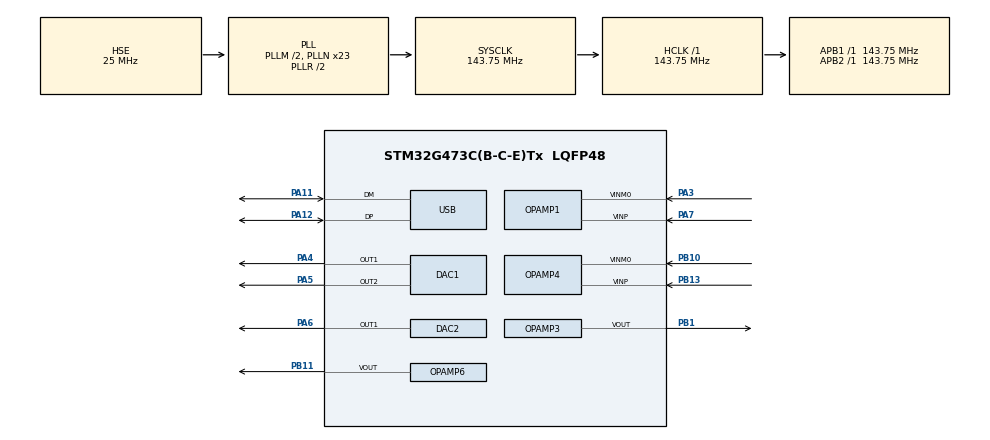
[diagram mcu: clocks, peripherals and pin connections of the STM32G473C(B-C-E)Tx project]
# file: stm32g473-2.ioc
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ADC1.Channel-1\#ChannelRegularConversion=ADC_CHANNEL_VOPAMP1
ADC1.NbrOfConversionFlag=1
ADC1.OffsetNumber-1\#ChannelRegularConversion=ADC_OFFSET_NONE
ADC1.Rank-1\#ChannelRegularConversion=1
ADC1.SamplingTime-1\#ChannelRegularConversion=ADC_SAMPLETIME_2CYCLES_5
ADC1.master=1
ADC5.Channel-1\#ChannelRegularConversion=ADC_CHANNEL_VOPAMP4
ADC5.NbrOfConversionFlag=1
ADC5.OffsetNumber-1\#ChannelRegularConversion=ADC_OFFSET_NONE
ADC5.Rank-1\#ChannelRegularConversion=1
ADC5.SamplingTime-1\#ChannelRegularConversion=ADC_SAMPLETIME_2CYCLES_5
DAC1.DAC_Channel-DAC_OUT2=DAC_CHANNEL_2
DAC3.DAC_Channel-DAC_OUT2_Int=DAC_CHANNEL_2
Mcu.Family=STM32G4
Mcu.Name=STM32G473C(B-C-E)Tx
Mcu.Package=LQFP48
NVIC.PriorityGroup=NVIC_PRIORITYGROUP_4
NVIC.USB_LP_IRQn=true\:0\:0\:false\:false\:true\:false\:true\:true
PA11.Mode=Device
PA11.Signal=USB_DM
PA12.Mode=Device
PA12.Signal=USB_DP
PA13.Mode=Trace_Asynchronous_SW
PA13.Signal=SYS_JTMS-SWDIO
PA14.Mode=Trace_Asynchronous_SW
PA14.Signal=SYS_JTCK-SWCLK
PA3.Mode=PGA Internally connected_IO0_BIAS
PA3.Signal=OPAMP1_VINM0
PA4.Signal=COMP_DAC11_group
PA5.Signal=COMP_DAC12_group
PA6.Signal=COMP_DAC21_group
PA7.Mode=PGA Internally connected_IO0_BIAS
PA7.Signal=OPAMP1_VINP
PB1.Mode=Follower-DAC_OUT2-INP
PB1.Signal=OPAMP3_VOUT
PB10.Mode=PGA Internally connected_IO0_BIAS
PB10.Signal=OPAMP4_VINM0
PB11.Mode=Follower-DAC_OUT2-INP
PB11.Signal=OPAMP6_VOUT
PB13.Mode=PGA Internally connected_IO0_BIAS
PB13.Signal=OPAMP4_VINP
PB3.Mode=Trace_Asynchronous_SW
PB3.Signal=SYS_JTDO-SWO
PF0-OSC_IN.Mode=HSE-External-Oscillator
PF0-OSC_IN.Signal=RCC_OSC_IN
PF1-OSC_OUT.Mode=HSE-External-Oscillator
PF1-OSC_OUT.Signal=RCC_OSC_OUT
ProjectManager.HeapSize=0x200
ProjectManager.StackSize=0x400
ProjectManager.TargetToolchain=STM32CubeIDE
RCC.ADC12Freq_Value=143750000
RCC.ADC345Freq_Value=143750000
RCC.AHBFreq_Value=143750000
RCC.APB1Freq_Value=143750000
RCC.APB1TimFreq_Value=143750000
RCC.APB2Freq_Value=143750000
RCC.APB2TimFreq_Value=143750000
RCC.CortexFreq_Value=143750000
RCC.EXTERNAL_CLOCK_VALUE=12288000
RCC.HCLKFreq_Value=143750000
RCC.HSE_VALUE=25000000
RCC.HSI48_VALUE=48000000
RCC.HSI_VALUE=16000000
RCC.LSE_VALUE=32768
RCC.PLLM=RCC_PLLM_DIV2
RCC.PLLN=23
RCC.PLLQ=RCC_PLLQ_DIV6
RCC.PLLSourceVirtual=RCC_PLLSOURCE_HSE
RCC.SYSCLKFreq_VALUE=143750000
RCC.SYSCLKSource=RCC_SYSCLKSOURCE_PLLCLK
RCC.USBFreq_Value=47916666.666666664
RCC.VCOOutputFreq_Value=287500000
SH.COMP_DAC11_group.0=DAC1_OUT1,DAC_OUT1
SH.COMP_DAC12_group.0=DAC1_OUT2,DAC_OUT2
SH.COMP_DAC21_group.0=DAC2_OUT1,DAC_OUT1
TIM1.CounterMode=TIM_COUNTERMODE_UP
TIM1.PeriodNoDither=65535-1
TIM1.Prescaler=143.75-1
USB_DEVICE.CLASS_NAME_FS=CDC
USB_DEVICE.VirtualMode=Cdc
USB_DEVICE.VirtualModeFS=Cdc_FS
VP_ADC1_OPAMP_INTERNAL1.Mode=IN-OPAMP1
VP_ADC5_OPAMP_INTERNAL4.Mode=IN-OPAMP4
VP_DAC3_VS_DACI1.Mode=DAC_OUT1_Int
VP_DAC3_VS_DACI2.Mode=DAC_OUT2_Int
VP_TIM1_VS_ClockSourceINT.Mode=Internal
VP_USB_DEVICE_VS_USB_DEVICE_CDC_FS.Mode=CDC_FS
board=custom

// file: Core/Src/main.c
/* USER CODE BEGIN Header */
/**
  ******************************************************************************
  * @file           : main.c
  * @brief          : Main program body
  ******************************************************************************
  * @attention
  *
  * Copyright (c) 2023 STMicroelectronics.
  * All rights reserved.
  *
  * This software is licensed under terms that can be found in the LICENSE file
  * in the root directory of this software component.
  * If no LICENSE file comes with this software, it is provided AS-IS.
  *
  ******************************************************************************
  */
/* USER CODE END Header */
#include "main.h"
#include "usb_device.h"
#include <string.h>
#include <stdbool.h>
#include <math.h>
#include <ctype.h>
#include "usbd_cdc_if.h"
#include<stdio.h>
#include<stdlib.h>

ADC_HandleTypeDef hadc1;
ADC_HandleTypeDef hadc5;

DAC_HandleTypeDef hdac1;
DAC_HandleTypeDef hdac2;
DAC_HandleTypeDef hdac3;

OPAMP_HandleTypeDef hopamp1;
OPAMP_HandleTypeDef hopamp3;
OPAMP_HandleTypeDef hopamp4;
OPAMP_HandleTypeDef hopamp6;

TIM_HandleTypeDef htim1;

/* USER CODE BEGIN PV */
//1 -> int between 1 and 4095
uint16_t xRes = 200;
//2 -> int between 1 and 4095
uint16_t yRes = 200;
//3 -> int between 1 and 4095
uint16_t skipSteps = 1;

//4 -> int between 0 and 4095
uint16_t xOffset = 2000;
//5 -> int between 0 and 4095
uint16_t yOffset = 2000;
//8 -> int between 1 and 20
uint8_t adcAvg = 8;

//7 -> int between 0 and 2500
uint16_t laserPower = 2000;

int pgaGain = OPAMP_PGA_GAIN_2_OR_MINUS_1;

int scanOffsetX = 0;
int scanOffsetY = 0;

//uint8_t image[500][500]; //causes RAM overflow -> sadge I'll have to send line by line in the scan function (use uint16_t for kicks?)
/* USER CODE END PV */

void SystemClock_Config(void);
static void MX_GPIO_Init(void);
static void MX_ADC1_Init(void);
static void MX_ADC5_Init(void);
static void MX_DAC1_Init(void);
static void MX_DAC2_Init(void);
static void MX_DAC3_Init(void);
static void MX_OPAMP1_Init(void);
static void MX_OPAMP3_Init(void);
static void MX_OPAMP4_Init(void);
static void MX_OPAMP6_Init(void);
static void MX_TIM1_Init(void);

/* USER CODE BEGIN 0 */

//microsecond delay (not used)
//https://controllerstech.com/create-1-microsecond-delay-stm32/
void delay_us(uint16_t us)
{
	__HAL_TIM_SET_COUNTER(&htim1,0);
	while (__HAL_TIM_GET_COUNTER(&htim1) < us);
}

//USB cdc transmit
//https://github.com/alexeykosinov/Redirect-printf-to-USB-VCP-on-STM32H7-MCU
int _write(int file, char *ptr, int len) {
    static uint8_t rc = USBD_OK;

    do {
        rc = CDC_Transmit_FS((unsigned char*)ptr, len);
    } while (USBD_BUSY == rc);

    if (USBD_FAIL == rc) {
        /// NOTE: Should never reach here.
        /// TODO: Handle this error.
        return 0;
    }
    return len;
}

//USB cdc receive
uint8_t buffer[64];
bool newReceived;

//ADC
uint32_t analogRead(uint8_t channel)
{
	uint32_t ADCValue = 0;
	if (channel == 1) {
		  HAL_ADC_Start(&hadc1);
		  if (HAL_ADC_PollForConversion(&hadc1, 1000000) == HAL_OK) {
		      ADCValue = HAL_ADC_GetValue(&hadc1);
		  }
		  HAL_ADC_Stop(&hadc1);
	} else if (channel == 5) {
		  HAL_ADC_Start(&hadc5);
		  if (HAL_ADC_PollForConversion(&hadc5, 1000000) == HAL_OK) {
		      ADCValue = HAL_ADC_GetValue(&hadc5);
		  }
		  HAL_ADC_Stop(&hadc5);
	}

  return ADCValue;
}

//parse usb serial input
uint16_t getNum() {
	  uint16_t num = 0;
	  for (int i=1; i<=4; i++) {
		  if (isdigit(buffer[i])) { //only works if buffer isn't initialized with all zeros - shouldn't be
			  num *= 10;
			  num += buffer[i] - '0';
		  }
	  }
	  return num;
}

//fine focus
//return true for successful focus, false for not
int16_t fineFocus() {
	int16_t currentAdc;
	int16_t topAdc = -10000;
	int16_t bottomAdc = 10000;
	int16_t topDac = 0;
	int16_t bottomDac = 0;
	int16_t middleDac;
	int8_t precision = 3;

	//set offsets
	HAL_DAC_SetValue(&hdac3, DAC_CHANNEL_1, DAC_ALIGN_12B_R, xOffset);
	HAL_DAC_SetValue(&hdac3, DAC_CHANNEL_2, DAC_ALIGN_12B_R, yOffset);

	//set laser power
	HAL_DAC_SetValue(&hdac2, DAC_CHANNEL_1, DAC_ALIGN_12B_R, laserPower);

	//delay to settle
	HAL_Delay(3);

	for (int i=0; i<4096; i+=precision) { //can do +=5?
		HAL_DAC_SetValue(&hdac1, DAC_CHANNEL_1, DAC_ALIGN_12B_R, i);
		//delay_us(1000);
		HAL_Delay(2);
		currentAdc = analogRead(5)-analogRead(1);
		if (currentAdc > topAdc) {
			topAdc = currentAdc;
			topDac = i;
		} else if (currentAdc < bottomAdc) {
			bottomAdc = currentAdc;
			bottomDac = i;
		}
		//delay_us(1000); //give time for VCM to catch up - maybe not needed
		HAL_Delay(2);
		printf("%d\r\n", currentAdc);
	}
	middleDac = (round((topDac-bottomDac)/2))+bottomDac;

	printf("Top DAC: %d\r\n", topDac);
	printf("Bottom DAC: %d\r\n", bottomDac);
	printf("Middle DAC: %d\r\n", middleDac);

	for (int i = 4095; i >= middleDac; i-=precision) {
		HAL_DAC_SetValue(&hdac1, DAC_CHANNEL_1, DAC_ALIGN_12B_R, i); //is blocking?
		HAL_Delay(2);
	}

	HAL_Delay(1); //leave time to settle
	return topAdc-bottomAdc; //return difference, aka size of S-shape
}

//coarse focus
uint16_t coarseFocus() {
	uint16_t sum = 0;
	uint16_t minDac = 0;
	uint8_t precision = 3;
	uint16_t minSum = 10000;
	//set offsets
	HAL_DAC_SetValue(&hdac3, DAC_CHANNEL_1, DAC_ALIGN_12B_R, xOffset);
	HAL_DAC_SetValue(&hdac3, DAC_CHANNEL_2, DAC_ALIGN_12B_R, yOffset);

	//set laser power
	HAL_DAC_SetValue(&hdac2, DAC_CHANNEL_1, DAC_ALIGN_12B_R, laserPower);

	//delay to settle
	HAL_Delay(3);

	for (int i=0; i<4096; i+=precision) {
		HAL_DAC_SetValue(&hdac1, DAC_CHANNEL_2, DAC_ALIGN_12B_R, i);
		HAL_Delay(2);
		sum = analogRead(5)+analogRead(1);
		if (sum < minSum) { //values get smaller as light increases (inverted)
			minSum = sum;
			minDac = i;
		}
		HAL_Delay(2); //give time for VCM to catch up - maybe not needed
		printf("%d\r\n", sum); //print to see curve
	}

	printf("%d\r\n", minDac);

	for (int i = 4095; i >= minDac; i-=precision) {
		HAL_DAC_SetValue(&hdac1, DAC_CHANNEL_2, DAC_ALIGN_12B_R, i);
		HAL_Delay(1);
		//printf("%d\r\n", i);
	}

	HAL_Delay(1); //time to settle
	//maybe print DAC value at max, to know general position (aka make sure it's not at a max?)
	return analogRead(5)+analogRead(1);
	//return 0;
}

//main scan
void scan() {
	//TODO: delays based on resolution to avoid warping and artifacts from the VCM catching up
	//TODO: when coarse focussing, set fine focus VCM to center?
	//TODO: reset focus VCMs before focussing to avoid dips at the start of the scan
	//TODO: improve focus accuracy, especially coarse (and ensure fine is accurate as well) - increase timers?
	//TODO: Doing too many scans in one program run results in only getting very warped images out. - might have been fixed by increasing row[] size
	//TODO: limit adcAvg to 10, as I haven't seen any benefits past that
	int raw;
	unsigned char row[(xRes*5)+1]; //maybe not long enough? because of delims? +1 because of missing last char '\n' at end of row - only need +1 for printing -> otherwise just one char at the end is needed, not two
	//unsigned char row[xRes*4]; //max 8192 = 4 digits long
	uint16_t usedCounter = 0; //keep track of how much of the array has been filled

	HAL_Delay(100);
	printf("starting scan loop\r\n");
	for (int y=0; y<yRes; y++) {
		  //memset(row, 0, sizeof row); //see if this fixes corruption - doesn't work -- no longer needed?
		  HAL_DAC_SetValue(&hdac3, DAC_CHANNEL_2, DAC_ALIGN_12B_R, scanOffsetY+(y*skipSteps));
		  HAL_Delay(10);
		  //delay_us(20);
		  usedCounter = 0;
		  for (int x=0; x<xRes; x++) {
			  raw = 0;
			  HAL_DAC_SetValue(&hdac3, DAC_CHANNEL_1, DAC_ALIGN_12B_R, scanOffsetX+(x*skipSteps));
			  if (x <= 1) {
				  HAL_Delay(60);
			  } else {
				  HAL_Delay(3);
			  }
			  //delay_us(500);
			  for (int i=1; i<=adcAvg; i++) {
				  raw += analogRead(5)+analogRead(1);
				  delay_us(50);
			  }
			  raw = (raw/adcAvg);
			  raw = 8191 - raw; //invert the image
			  //printf("%d\r\n", raw);
			  if (x+1 != xRes) {
				  usedCounter += sprintf(row+usedCounter, "%d,", raw);
			  } else {
				  usedCounter += sprintf(row+usedCounter, "%d\r\n", raw);
			  }
		  }
		  //can use usedCounter instead of sizeof(row) to account for >512 by splitting?
		  //temp -> remove last comma for easy parsing
		  HAL_Delay(5); //delays around USB transmit don't help line corruption
		  static uint8_t rc = USBD_OK;
		  do {
		          rc = CDC_Transmit_FS(row, usedCounter);
		      } while (USBD_BUSY == rc);

		      if (USBD_FAIL == rc) {
		          /// NOTE: Should never reach here.
		          /// TODO: Handle this error.
		          printf("Failed to send image");
		      }
		  HAL_Delay(5);
		  //HAL_Delay(30);
		  //memset(row, 0, xRes*4);

	}
}

/* USER CODE END 0 */

int main(void)
{

  /* MCU Configuration--------------------------------------------------------*/

  /* Reset of all peripherals, Initializes the Flash interface and the Systick. */
  HAL_Init();

  /* Configure the system clock */
  SystemClock_Config();

  /* Initialize all configured peripherals */
  MX_GPIO_Init();
  MX_ADC1_Init();
  MX_ADC5_Init();
  MX_DAC1_Init();
  MX_DAC2_Init();
  MX_DAC3_Init();
  MX_OPAMP1_Init();
  MX_OPAMP3_Init();
  MX_OPAMP4_Init();
  MX_OPAMP6_Init();
  MX_USB_Device_Init();
  MX_TIM1_Init();
  /* USER CODE BEGIN 2 */
  //DAC setup
  HAL_DAC_Start(&hdac1, DAC_CHANNEL_1);
  HAL_DAC_Start(&hdac1, DAC_CHANNEL_2);
  HAL_DAC_Start(&hdac2, DAC_CHANNEL_1);
  HAL_DAC_Start(&hdac3, DAC_CHANNEL_1);
  HAL_DAC_Start(&hdac3, DAC_CHANNEL_2);

  //ADC setup
  HAL_ADC_Start(&hadc1);
  HAL_ADC_Start(&hadc5);

  //opamp setup for DAC outputs
  HAL_OPAMP_Start(&hopamp3);
  HAL_OPAMP_Start(&hopamp6);

  //opamp setup for ADC inputs
  HAL_OPAMP_Start(&hopamp1);
  HAL_OPAMP_Start(&hopamp4);

  //timer setup
  HAL_TIM_Base_Start(&htim1);

  /* USER CODE END 2 */

  /* Infinite loop */
  while (1)
  {

	  //TODO: Turn off laser when not scanning or focussing
	  //TODO: print FES and SUM info more clearly when focussing
	  //TODO: Have interrupt to kill program if USB is disconnected?
	  //TODO: change ADC opamps to "fast mode"?

	  //All DACS
	  //out1-ch1 = vcm-fine
	  //out1-ch2 = vcm-coarse
	  //out2-ch1 = laser
	  //out3-ch1 (opamp3) = vcm-x
	  //out3-ch2 (opamp6) = vcm-y

	  //protocol:
	  //first char -> 0-9:
	  //0=start scan
	  //1=change x resolution
	  //2=change y resolution
	  //3=change number of steps to skip (aka zoom -> steps to skip * resolution = scan area out of 4096)
	  //4=change X offset
	  //5=change Y offset
	  //6=change opamp gain
	  //7=change laser power
	  //8=change number of ADC samples to average - use DMA later
	  //9=fine or coarse focus
	  //*10=change whether to output FES or SUM or both (aka just the two ADC values raw) - not needed yet

	  //After leading number, rest is dependent on choice
	  //setup with default values
	  //0 -> no input after

	  //missing vars are above

	  //6 -> int between 0 and 5 (0=2x, 1=4x, 2=8x, 3=16x, 4=32x, 5=64x)
	  uint8_t adcGain = 1;

	  //buffer[0]
	  uint8_t start;

	  //value of following data after buffer[0]
	  uint16_t num = 0;

	  //missing is above
	  //9 -> (1=fine focus, 2=coarse focus).

	  //when starting a scan, do checks to make sure you aren't exceeding 4096 for any VCM output, and not exceeding 2500 for laser input.
	  //avoid floats?
	  if (newReceived) {
		  printf("Received\r\n");
		  //hangs on line below -> when I send loads of 0s, it only shows one in the buffer.
		  if (buffer[0]=='0') {
				  start = 0;
		  } else {
			  start = buffer[0]-'0';
			  num = getNum();
		  }
		  switch (start) {
			case 0:
				printf("Scanning\r\n");
				int16_t xSum = (skipSteps*xRes)+xOffset; //not setting properly?
				int16_t ySum = (skipSteps*yRes)+yOffset;

				scanOffsetX = xOffset - (xRes * skipSteps / 2); // set focus to center of scanned image (make sure > 0)
				scanOffsetY = yOffset - (yRes * skipSteps / 2);

				if (xSum < 4096 && ySum < 4096) { //doesn't go to else properly
					if (scanOffsetX >= 0 && scanOffsetY >= 0) {
						printf("passed checks\r\n");
					    //call scan function
					    //might have issues sending if char count is over 512 in the X axis (maybe break into chunks if an issue)
						scan(); //pass pointer

						HAL_Delay(1);
						printf("done\r\n");
					} else {
						printf("Offset too small\r\n");
					}
				} else {
				  	printf("Dimensions too large\r\n");
				}
				break;
			case 1:
				if (xRes < 4096 && xRes > 0) {
					xRes = num;
				}
				printf("%d\r\n", xRes);
				break;
			case 2:
				if (yRes < 4096 && yRes > 0) {
					yRes = num;
				}
				printf("%d\r\n", yRes);
				break;
			case 3:
				if (skipSteps < 4096 && skipSteps > 0) {
					skipSteps = num;
				}
				printf("%d\r\n", skipSteps);
				break;
			case 4:
				//apply offsets here so that focus is on the correct scan area, or apply in focus functions
				if (xOffset < 4096) {
					xOffset = num;
				}
				printf("%d\r\n", xOffset);
				break;
			case 5:
				if (yOffset < 4096) {
					yOffset = num;
				}
				printf("%d\r\n", yOffset);
				break;
			case 6:
			    if (num <= 5) {
				  adcGain = num;
				  HAL_OPAMP_Stop(&hopamp1);
				  HAL_OPAMP_Stop(&hopamp4);
				  switch (adcGain) {
					  case 0:
					    pgaGain = OPAMP_PGA_GAIN_2_OR_MINUS_1;
					    break;
					  case 1:
					    pgaGain = OPAMP_PGA_GAIN_4_OR_MINUS_3;
					    break;
					  case 2:
					    pgaGain = OPAMP_PGA_GAIN_8_OR_MINUS_7;
					    break;
					  case 3:
					    pgaGain = OPAMP_PGA_GAIN_16_OR_MINUS_15;
					    break;
					  case 4:
					    pgaGain = OPAMP_PGA_GAIN_32_OR_MINUS_31;
					    break;
					  case 5:
					    pgaGain = OPAMP_PGA_GAIN_64_OR_MINUS_63;
					    break;
				  }
				  HAL_Delay(2); //just to give it time to shut down?
				  MX_OPAMP1_Init();
				  MX_OPAMP4_Init();
				  HAL_Delay(2); //just to give it time to start up?
				  HAL_OPAMP_Start(&hopamp1);
				  HAL_OPAMP_Start(&hopamp4);
			    }
			    printf("%d\r\n", adcGain);
			    break;
			case 7:
				if (num <= 2500) {
					laserPower = num;
					HAL_DAC_SetValue(&hdac2, DAC_CHANNEL_1, DAC_ALIGN_12B_R, laserPower);
				}
				printf("%d\r\n", laserPower);
				break;
			case 8:
				//TODO: apply averaging to focus as well for very high zoom (fine only?)
				if (num <= 20 && num != 0) {
					adcAvg = num;
				}
				printf("%d\r\n", adcAvg);
				break;
			case 9:
				if (num == 1) {
					printf("%d\r\n", fineFocus());
				} else if (num == 2) {
					printf("%d\r\n", coarseFocus());
				} else {
					printf("Bad input\r\n");
				}
				break;
		  }

		  newReceived = false;
	  }
	  HAL_Delay(100); //100ms polling delay

	}
}

void SystemClock_Config(void)
{
  RCC_OscInitTypeDef RCC_OscInitStruct = {0};
  RCC_ClkInitTypeDef RCC_ClkInitStruct = {0};

  /** Configure the main internal regulator output voltage
  */
  HAL_PWREx_ControlVoltageScaling(PWR_REGULATOR_VOLTAGE_SCALE1);

  /** Initializes the RCC Oscillators according to the specified parameters
  * in the RCC_OscInitTypeDef structure.
  */
  RCC_OscInitStruct.OscillatorType = RCC_OSCILLATORTYPE_HSE;
  RCC_OscInitStruct.HSEState = RCC_HSE_ON;
  RCC_OscInitStruct.PLL.PLLState = RCC_PLL_ON;
  RCC_OscInitStruct.PLL.PLLSource = RCC_PLLSOURCE_HSE;
  RCC_OscInitStruct.PLL.PLLM = RCC_PLLM_DIV2;
  RCC_OscInitStruct.PLL.PLLN = 23;
  RCC_OscInitStruct.PLL.PLLP = RCC_PLLP_DIV2;
  RCC_OscInitStruct.PLL.PLLQ = RCC_PLLQ_DIV6;
  RCC_OscInitStruct.PLL.PLLR = RCC_PLLR_DIV2;
  if (HAL_RCC_OscConfig(&RCC_OscInitStruct) != HAL_OK)
  {
    Error_Handler();
  }

  /** Initializes the CPU, AHB and APB buses clocks
  */
  RCC_ClkInitStruct.ClockType = RCC_CLOCKTYPE_HCLK|RCC_CLOCKTYPE_SYSCLK
                              |RCC_CLOCKTYPE_PCLK1|RCC_CLOCKTYPE_PCLK2;
  RCC_ClkInitStruct.SYSCLKSource = RCC_SYSCLKSOURCE_PLLCLK;
  RCC_ClkInitStruct.AHBCLKDivider = RCC_SYSCLK_DIV1;
  RCC_ClkInitStruct.APB1CLKDivider = RCC_HCLK_DIV1;
  RCC_ClkInitStruct.APB2CLKDivider = RCC_HCLK_DIV1;

  if (HAL_RCC_ClockConfig(&RCC_ClkInitStruct, FLASH_LATENCY_4) != HAL_OK)
  {
    Error_Handler();
  }
}

static void MX_ADC1_Init(void)
{

  ADC_MultiModeTypeDef multimode = {0};
  ADC_ChannelConfTypeDef sConfig = {0};

  /** Common config
  */
  hadc1.Instance = ADC1;
  hadc1.Init.ClockPrescaler = ADC_CLOCK_SYNC_PCLK_DIV4;
  hadc1.Init.Resolution = ADC_RESOLUTION_12B;
  hadc1.Init.DataAlign = ADC_DATAALIGN_RIGHT;
  hadc1.Init.GainCompensation = 0;
  hadc1.Init.ScanConvMode = ADC_SCAN_DISABLE;
  hadc1.Init.EOCSelection = ADC_EOC_SINGLE_CONV;
  hadc1.Init.LowPowerAutoWait = DISABLE;
  hadc1.Init.ContinuousConvMode = DISABLE;
  hadc1.Init.NbrOfConversion = 1;
  hadc1.Init.DiscontinuousConvMode = DISABLE;
  hadc1.Init.ExternalTrigConv = ADC_SOFTWARE_START;
  hadc1.Init.ExternalTrigConvEdge = ADC_EXTERNALTRIGCONVEDGE_NONE;
  hadc1.Init.DMAContinuousRequests = DISABLE;
  hadc1.Init.Overrun = ADC_OVR_DATA_PRESERVED;
  hadc1.Init.OversamplingMode = DISABLE;
  if (HAL_ADC_Init(&hadc1) != HAL_OK)
  {
    Error_Handler();
  }

  /** Configure the ADC multi-mode
  */
  multimode.Mode = ADC_MODE_INDEPENDENT;
  if (HAL_ADCEx_MultiModeConfigChannel(&hadc1, &multimode) != HAL_OK)
  {
    Error_Handler();
  }

  /** Configure Regular Channel
  */
  sConfig.Channel = ADC_CHANNEL_VOPAMP1;
  sConfig.Rank = ADC_REGULAR_RANK_1;
  sConfig.SamplingTime = ADC_SAMPLETIME_2CYCLES_5;
  sConfig.SingleDiff = ADC_SINGLE_ENDED;
  sConfig.OffsetNumber = ADC_OFFSET_NONE;
  sConfig.Offset = 0;
  if (HAL_ADC_ConfigChannel(&hadc1, &sConfig) != HAL_OK)
  {
    Error_Handler();
  }

}

static void MX_ADC5_Init(void)
{

  ADC_ChannelConfTypeDef sConfig = {0};

  /** Common config
  */
  hadc5.Instance = ADC5;
  hadc5.Init.ClockPrescaler = ADC_CLOCK_SYNC_PCLK_DIV4;
  hadc5.Init.Resolution = ADC_RESOLUTION_12B;
  hadc5.Init.DataAlign = ADC_DATAALIGN_RIGHT;
  hadc5.Init.GainCompensation = 0;
  hadc5.Init.ScanConvMode = ADC_SCAN_DISABLE;
  hadc5.Init.EOCSelection = ADC_EOC_SINGLE_CONV;
  hadc5.Init.LowPowerAutoWait = DISABLE;
  hadc5.Init.ContinuousConvMode = DISABLE;
  hadc5.Init.NbrOfConversion = 1;
  hadc5.Init.DiscontinuousConvMode = DISABLE;
  hadc5.Init.ExternalTrigConv = ADC_SOFTWARE_START;
  hadc5.Init.ExternalTrigConvEdge = ADC_EXTERNALTRIGCONVEDGE_NONE;
  hadc5.Init.DMAContinuousRequests = DISABLE;
  hadc5.Init.Overrun = ADC_OVR_DATA_PRESERVED;
  hadc5.Init.OversamplingMode = DISABLE;
  if (HAL_ADC_Init(&hadc5) != HAL_OK)
  {
    Error_Handler();
  }

  /** Configure Regular Channel
  */
  sConfig.Channel = ADC_CHANNEL_VOPAMP4;
  sConfig.Rank = ADC_REGULAR_RANK_1;
  sConfig.SamplingTime = ADC_SAMPLETIME_2CYCLES_5;
  sConfig.SingleDiff = ADC_SINGLE_ENDED;
  sConfig.OffsetNumber = ADC_OFFSET_NONE;
  sConfig.Offset = 0;
  if (HAL_ADC_ConfigChannel(&hadc5, &sConfig) != HAL_OK)
  {
    Error_Handler();
  }

}

static void MX_DAC1_Init(void)
{

  DAC_ChannelConfTypeDef sConfig = {0};

  /** DAC Initialization
  */
  hdac1.Instance = DAC1;
  if (HAL_DAC_Init(&hdac1) != HAL_OK)
  {
    Error_Handler();
  }

  /** DAC channel OUT1 config
  */
  sConfig.DAC_HighFrequency = DAC_HIGH_FREQUENCY_INTERFACE_MODE_AUTOMATIC;
  sConfig.DAC_DMADoubleDataMode = DISABLE;
  sConfig.DAC_SignedFormat = DISABLE;
  sConfig.DAC_SampleAndHold = DAC_SAMPLEANDHOLD_DISABLE;
  sConfig.DAC_Trigger = DAC_TRIGGER_NONE;
  sConfig.DAC_Trigger2 = DAC_TRIGGER_NONE;
  sConfig.DAC_OutputBuffer = DAC_OUTPUTBUFFER_ENABLE;
  sConfig.DAC_ConnectOnChipPeripheral = DAC_CHIPCONNECT_EXTERNAL;
  sConfig.DAC_UserTrimming = DAC_TRIMMING_FACTORY;
  if (HAL_DAC_ConfigChannel(&hdac1, &sConfig, DAC_CHANNEL_1) != HAL_OK)
  {
    Error_Handler();
  }

  /** DAC channel OUT2 config
  */
  if (HAL_DAC_ConfigChannel(&hdac1, &sConfig, DAC_CHANNEL_2) != HAL_OK)
  {
    Error_Handler();
  }

}

static void MX_DAC2_Init(void)
{

  DAC_ChannelConfTypeDef sConfig = {0};

  /** DAC Initialization
  */
  hdac2.Instance = DAC2;
  if (HAL_DAC_Init(&hdac2) != HAL_OK)
  {
    Error_Handler();
  }

  /** DAC channel OUT1 config
  */
  sConfig.DAC_HighFrequency = DAC_HIGH_FREQUENCY_INTERFACE_MODE_AUTOMATIC;
  sConfig.DAC_DMADoubleDataMode = DISABLE;
  sConfig.DAC_SignedFormat = DISABLE;
  sConfig.DAC_SampleAndHold = DAC_SAMPLEANDHOLD_DISABLE;
  sConfig.DAC_Trigger = DAC_TRIGGER_NONE;
  sConfig.DAC_Trigger2 = DAC_TRIGGER_NONE;
  sConfig.DAC_OutputBuffer = DAC_OUTPUTBUFFER_ENABLE;
  sConfig.DAC_ConnectOnChipPeripheral = DAC_CHIPCONNECT_EXTERNAL;
  sConfig.DAC_UserTrimming = DAC_TRIMMING_FACTORY;
  if (HAL_DAC_ConfigChannel(&hdac2, &sConfig, DAC_CHANNEL_1) != HAL_OK)
  {
    Error_Handler();
  }

}

static void MX_DAC3_Init(void)
{

  DAC_ChannelConfTypeDef sConfig = {0};

  /** DAC Initialization
  */
  hdac3.Instance = DAC3;
  if (HAL_DAC_Init(&hdac3) != HAL_OK)
  {
    Error_Handler();
  }

  /** DAC channel OUT1 config
  */
  sConfig.DAC_HighFrequency = DAC_HIGH_FREQUENCY_INTERFACE_MODE_AUTOMATIC;
  sConfig.DAC_DMADoubleDataMode = DISABLE;
  sConfig.DAC_SignedFormat = DISABLE;
  sConfig.DAC_SampleAndHold = DAC_SAMPLEANDHOLD_DISABLE;
  sConfig.DAC_Trigger = DAC_TRIGGER_NONE;
  sConfig.DAC_Trigger2 = DAC_TRIGGER_NONE;
  sConfig.DAC_OutputBuffer = DAC_OUTPUTBUFFER_DISABLE;
  sConfig.DAC_ConnectOnChipPeripheral = DAC_CHIPCONNECT_INTERNAL;
  sConfig.DAC_UserTrimming = DAC_TRIMMING_FACTORY;
  if (HAL_DAC_ConfigChannel(&hdac3, &sConfig, DAC_CHANNEL_1) != HAL_OK)
  {
    Error_Handler();
  }

  /** DAC channel OUT2 config
  */
  if (HAL_DAC_ConfigChannel(&hdac3, &sConfig, DAC_CHANNEL_2) != HAL_OK)
  {
    Error_Handler();
  }

}

static void MX_OPAMP1_Init(void)
{

  hopamp1.Instance = OPAMP1;
  hopamp1.Init.PowerMode = OPAMP_POWERMODE_NORMALSPEED;
  hopamp1.Init.Mode = OPAMP_PGA_MODE;
  hopamp1.Init.NonInvertingInput = OPAMP_NONINVERTINGINPUT_IO2;
  hopamp1.Init.InternalOutput = ENABLE;
  hopamp1.Init.TimerControlledMuxmode = OPAMP_TIMERCONTROLLEDMUXMODE_DISABLE;
  hopamp1.Init.PgaConnect = OPAMP_PGA_CONNECT_INVERTINGINPUT_IO0_BIAS;
  hopamp1.Init.PgaGain = pgaGain;
  hopamp1.Init.UserTrimming = OPAMP_TRIMMING_FACTORY;
  if (HAL_OPAMP_Init(&hopamp1) != HAL_OK)
  {
    Error_Handler();
  }

}

static void MX_OPAMP3_Init(void)
{

  hopamp3.Instance = OPAMP3;
  hopamp3.Init.PowerMode = OPAMP_POWERMODE_NORMALSPEED;
  hopamp3.Init.Mode = OPAMP_FOLLOWER_MODE;
  hopamp3.Init.NonInvertingInput = OPAMP_NONINVERTINGINPUT_DAC;
  hopamp3.Init.InternalOutput = DISABLE;
  hopamp3.Init.TimerControlledMuxmode = OPAMP_TIMERCONTROLLEDMUXMODE_DISABLE;
  hopamp3.Init.UserTrimming = OPAMP_TRIMMING_FACTORY;
  if (HAL_OPAMP_Init(&hopamp3) != HAL_OK)
  {
    Error_Handler();
  }

}

static void MX_OPAMP4_Init(void)
{

  hopamp4.Instance = OPAMP4;
  hopamp4.Init.PowerMode = OPAMP_POWERMODE_NORMALSPEED;
  hopamp4.Init.Mode = OPAMP_PGA_MODE;
  hopamp4.Init.NonInvertingInput = OPAMP_NONINVERTINGINPUT_IO0;
  hopamp4.Init.InternalOutput = ENABLE;
  hopamp4.Init.TimerControlledMuxmode = OPAMP_TIMERCONTROLLEDMUXMODE_DISABLE;
  hopamp4.Init.PgaConnect = OPAMP_PGA_CONNECT_INVERTINGINPUT_IO0_BIAS;
  hopamp4.Init.PgaGain = pgaGain;
  hopamp4.Init.UserTrimming = OPAMP_TRIMMING_FACTORY;
  if (HAL_OPAMP_Init(&hopamp4) != HAL_OK)
  {
    Error_Handler();
  }

}

static void MX_OPAMP6_Init(void)
{

  hopamp6.Instance = OPAMP6;
  hopamp6.Init.PowerMode = OPAMP_POWERMODE_NORMALSPEED;
  hopamp6.Init.Mode = OPAMP_FOLLOWER_MODE;
  hopamp6.Init.NonInvertingInput = OPAMP_NONINVERTINGINPUT_DAC;
  hopamp6.Init.InternalOutput = DISABLE;
  hopamp6.Init.TimerControlledMuxmode = OPAMP_TIMERCONTROLLEDMUXMODE_DISABLE;
  hopamp6.Init.UserTrimming = OPAMP_TRIMMING_FACTORY;
  if (HAL_OPAMP_Init(&hopamp6) != HAL_OK)
  {
    Error_Handler();
  }

}

static void MX_TIM1_Init(void)
{

  TIM_ClockConfigTypeDef sClockSourceConfig = {0};
  TIM_MasterConfigTypeDef sMasterConfig = {0};

  htim1.Instance = TIM1;
  htim1.Init.Prescaler = 143.75-1;
  htim1.Init.CounterMode = TIM_COUNTERMODE_UP;
  htim1.Init.Period = 65535;
  htim1.Init.ClockDivision = TIM_CLOCKDIVISION_DIV1;
  htim1.Init.RepetitionCounter = 0;
  htim1.Init.AutoReloadPreload = TIM_AUTORELOAD_PRELOAD_DISABLE;
  if (HAL_TIM_Base_Init(&htim1) != HAL_OK)
  {
    Error_Handler();
  }
  sClockSourceConfig.ClockSource = TIM_CLOCKSOURCE_INTERNAL;
  if (HAL_TIM_ConfigClockSource(&htim1, &sClockSourceConfig) != HAL_OK)
  {
    Error_Handler();
  }
  sMasterConfig.MasterOutputTrigger = TIM_TRGO_RESET;
  sMasterConfig.MasterOutputTrigger2 = TIM_TRGO2_RESET;
  sMasterConfig.MasterSlaveMode = TIM_MASTERSLAVEMODE_DISABLE;
  if (HAL_TIMEx_MasterConfigSynchronization(&htim1, &sMasterConfig) != HAL_OK)
  {
    Error_Handler();
  }

}

static void MX_GPIO_Init(void)
{

  /* GPIO Ports Clock Enable */
  __HAL_RCC_GPIOF_CLK_ENABLE();
  __HAL_RCC_GPIOA_CLK_ENABLE();
  __HAL_RCC_GPIOB_CLK_ENABLE();

}

void Error_Handler(void)
{
  __disable_irq();
  while (1)
  {
  }
}
